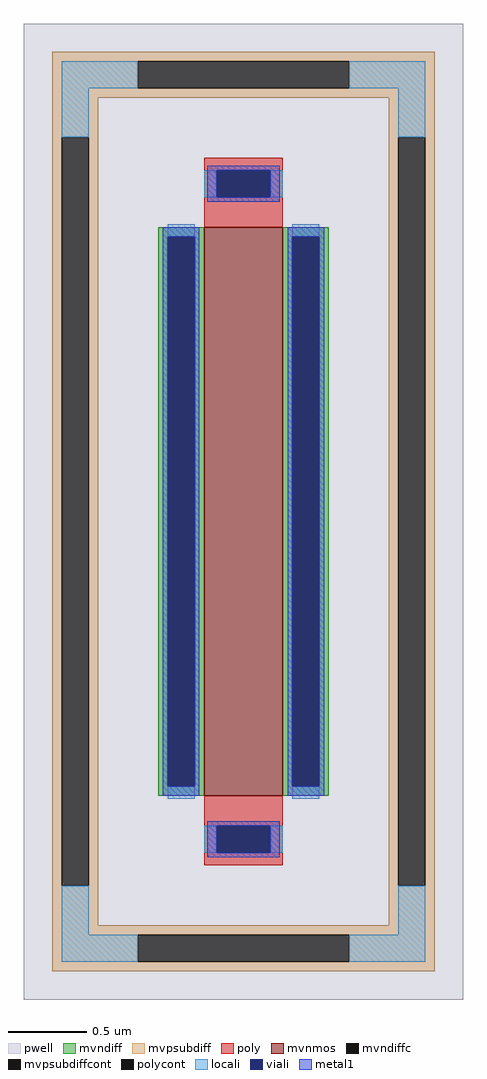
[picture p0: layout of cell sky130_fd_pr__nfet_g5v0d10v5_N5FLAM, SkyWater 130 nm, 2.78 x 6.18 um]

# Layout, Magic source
magic
tech sky130A
<< pwell >>
rect -139 -309 139 309
<< mvnmos >>
rect -25 -180 25 180
<< mvndiff >>
rect -54 174 -25 180
rect -54 -174 -48 174
rect -31 -174 -25 174
rect -54 -180 -25 -174
rect 25 174 54 180
rect 25 -174 31 174
rect 48 -174 54 174
rect 25 -180 54 -174
<< mvndiffc >>
rect -48 -174 -31 174
rect 31 -174 48 174
<< mvpsubdiff >>
rect -121 285 121 291
rect -121 268 -67 285
rect 67 268 121 285
rect -121 262 121 268
rect -121 237 -92 262
rect -121 -237 -115 237
rect -98 -237 -92 237
rect 92 237 121 262
rect -121 -262 -92 -237
rect 92 -237 98 237
rect 115 -237 121 237
rect 92 -262 121 -237
rect -121 -268 121 -262
rect -121 -285 -67 -268
rect 67 -285 121 -268
rect -121 -291 121 -285
<< mvpsubdiffcont >>
rect -67 268 67 285
rect -115 -237 -98 237
rect 98 -237 115 237
rect -67 -285 67 -268
<< poly >>
rect -25 216 25 224
rect -25 199 -17 216
rect 17 199 25 216
rect -25 180 25 199
rect -25 -199 25 -180
rect -25 -216 -17 -199
rect 17 -216 25 -199
rect -25 -224 25 -216
<< polycont >>
rect -17 199 17 216
rect -17 -216 17 -199
<< locali >>
rect -115 268 -67 285
rect 67 268 115 285
rect -115 237 -98 268
rect 98 237 115 268
rect -25 199 -17 216
rect 17 199 25 216
rect -48 174 -31 182
rect -48 -182 -31 -174
rect 31 174 48 182
rect 31 -182 48 -174
rect -25 -216 -17 -199
rect 17 -216 25 -199
rect -115 -268 -98 -237
rect 98 -268 115 -237
rect -115 -285 -67 -268
rect 67 -285 115 -268
<< viali >>
rect -17 199 17 216
rect -48 -174 -31 174
rect 31 -174 48 174
rect -17 -216 17 -199
<< metal1 >>
rect -23 216 23 219
rect -23 199 -17 216
rect 17 199 23 216
rect -23 196 23 199
rect -51 174 -28 180
rect -51 -174 -48 174
rect -31 -174 -28 174
rect -51 -180 -28 -174
rect 28 174 51 180
rect 28 -174 31 174
rect 48 -174 51 174
rect 28 -180 51 -174
rect -23 -199 23 -196
rect -23 -216 -17 -199
rect 17 -216 23 -199
rect -23 -219 23 -216
<< properties >>
string FIXED_BBOX -106 -276 106 276
string gencell sky130_fd_pr__nfet_g5v0d10v5
string library sky130
string parameters w 3.6 l 0.5 m 1 nf 1 diffcov 100 polycov 100 guard 1 glc 1 grc 1 gtc 1 gbc 1 tbcov 100 rlcov 100 topc 1 botc 1 poverlap 0 doverlap 1 lmin 0.50 wmin 0.42 compatible {sky130_fd_pr__nfet_01v8 sky130_fd_pr__nfet_01v8_lvt  sky130_fd_bs_flash__special_sonosfet_star  sky130_fd_pr__nfet_g5v0d10v5 sky130_fd_pr__nfet_05v0_nvt  sky130_fd_pr__nfet_03v3_nvt} full_metal 1 viasrc 100 viadrn 100 viagate 100 viagb 0 viagr 0 viagl 0 viagt 0
<< end >>
